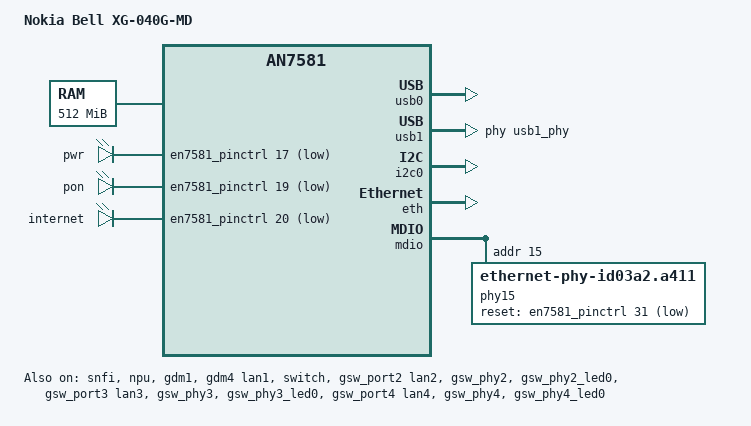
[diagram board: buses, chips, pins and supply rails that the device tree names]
// SPDX-License-Identifier: (GPL-2.0-only OR BSD-2-Clause)
/dts-v1/;

#include <dt-bindings/leds/common.h>
#include <dt-bindings/gpio/gpio.h>
#include <dt-bindings/input/input.h>
#include "an7581-nowifi.dtsi"

/ {
	model = "Nokia Bell XG-040G-MD";
	compatible = "bell,xg-040g-md", "airoha,an7581";

	efuse-banks {
		compatible = "airoha,an7581-efuses";
		#address-cells = <0x01>;
		#size-cells = <0x00>;

		bank@0 {
			reg = <0x00>;
		};

		bank@1 {
			reg = <0x01>;
		};
	};

	aliases {
		serial0 = &uart1;
	};

	chosen {
		bootargs = "console=ttyS0,115200n8 loglevel=7  earlycon";
		stdout-path = "serial0:115200n8";
		bootargs-append = " ubi.mtd=rootfs,2048 rootfstype=squashfs loglevel=8 ubi.block=0,rootfs ro init=/etc/preinit";
	};

	memory@80000000 {
		device_type = "memory";
		/* 已修正：将作者的 8GB 报错值改为真实的 512MB 物理内存 */
		reg = <0x0 0x80000000 0x0 0x20000000>;
	};

	leds {
		compatible = "gpio-leds";

		led-0 {
			label = "pwr";
			color = <0x01>;
			function = "power";
			/* 已修正：0x24 还原为控制器指针，0x11 还原为 17 脚 */
			gpios = <&en7581_pinctrl 17 GPIO_ACTIVE_LOW>;
			default-state = "on";
		};

		led-2 {
			label = "pon";
			color = <0x02>;
			function = "status";
			/* 已修正：0x13 还原为 19 脚 */
			gpios = <&en7581_pinctrl 19 GPIO_ACTIVE_LOW>;
			default-state = "off";
		};

		led-3 {
			label = "internet";
			color = <0x02>;
			function = "status";
			/* 已修正：0x14 还原为 20 脚 */
			gpios = <&en7581_pinctrl 20 GPIO_ACTIVE_LOW>;
			default-state = "on";
		};
	};
};

&en7581_pinctrl {
	gpio-ranges = <&en7581_pinctrl 0 13 47>;

	mdio_pins: mdio-pins {
		mux {
			function = "mdio";
			groups = "mdio";
		};

		conf {
			pins = "gpio2";
			output-high;
		};
	};

	pcie0_rst_pins: pcie0-rst-pins {
		conf {
			pins = "pcie_reset0";
			drive-open-drain = <1>;
		};
	};

	pcie1_rst_pins: pcie1-rst-pins {
		conf {
			pins = "pcie_reset1";
			drive-open-drain = <1>;
		};
	};

	gswp1_led0_pins: gswp1-led0-pins {
		mux {
			function = "phy1_led0";
			pins = "gpio33";
		};
	};

	gswp2_led0_pins: gswp2-led0-pins {
		mux {
			function = "phy2_led0";
			pins = "gpio34";
		};
	};

	gswp3_led0_pins: gswp3-led0-pins {
		mux {
			function = "phy3_led0";
			pins = "gpio35";
		};
	};

	gswp4_led0_pins: gswp4-led0-pins {
		mux {
			function = "phy4_led0";
			pins = "gpio42";
		};
	};
};

&snfi {
	status = "okay";
};

&spi_nand {
	#address-cells = <1>;
	#size-cells = <1>;
	partitions {
		compatible = "fixed-partitions";
		#address-cells = <1>;
		#size-cells = <1>;

		partition@0 {
			label = "bootloader";
			reg = <0x0  0x00080000>;
			read-only;
		};

		partition@80000  {
			label = "env";
			reg = <0x00080000 0x00080000>;
		};

		partition@100000 {
			label = "ubi";
			reg = <0x00100000  0x00>;
			ubi-reserved-pebs = <100>;
		};
	};
};

&usb0 {
	status = "okay";
};

&usb1 {
	status = "okay";
	/* 关键修改：去除 3.0 屏蔽，直接启用 USB3 物理层满血速率 */
	phys = <&usb1_phy PHY_TYPE_USB3>;
};

&i2c0 {
	status = "okay";
};

&npu {
	status = "okay";
};

&eth {
	status = "okay";
};

&gdm1 {
	status = "okay";
};

&gdm4 {
	status = "okay";
	phy-handle = <&phy15>;
	phy-mode = "2500base-x";
	/* 保持原作者的 lan1 命名 */
	label = "lan1";
};

&switch {
	status = "okay";
	pinctrl-names = "default";
	pinctrl-0 = <&mdio_pins>;

	mdio {
		phy15: ethernet-phy@f {
			/* EN8811H PHY ID */
			compatible = "ethernet-phy-id03a2.a411";
			reg = <15>;

			interrupt-parent = <&gic>;
			reset-gpios = <&en7581_pinctrl 31 GPIO_ACTIVE_LOW>;
			reset-assert-us = <10000>;
			reset-deassert-us = <2000000>;
			phy-mode = "2500base-x";
		};
	};
};

/* --- 以下完全遵循作者采用的外部引用节点写法 --- */

&gsw_port2 {
	status = "okay";
	label = "lan2";
};

&gsw_phy2 {
	pinctrl-names = "gbe-led";
	pinctrl-0 = <&gswp2_led0_pins>;
	status = "okay";
};

&gsw_phy2_led0 {
	status = "okay";
	active-low;
};

&gsw_port3 {
	status = "okay";
	label = "lan3";
};

&gsw_phy3 {
	pinctrl-names = "gbe-led";
	pinctrl-0 = <&gswp3_led0_pins>;
	status = "okay";
};

&gsw_phy3_led0 {
	status = "okay";
	active-low;
};

&gsw_port4 {
	status = "okay";
	label = "lan4";
};

&gsw_phy4 {
	pinctrl-names = "gbe-led";
	pinctrl-0 = <&gswp4_led0_pins>;
	status = "okay";
};

&gsw_phy4_led0 {
	color = <LED_COLOR_ID_GREEN>;
	function = LED_FUNCTION_WAN;
	default-state = "keep";
	status = "okay";
	active-low;
};

